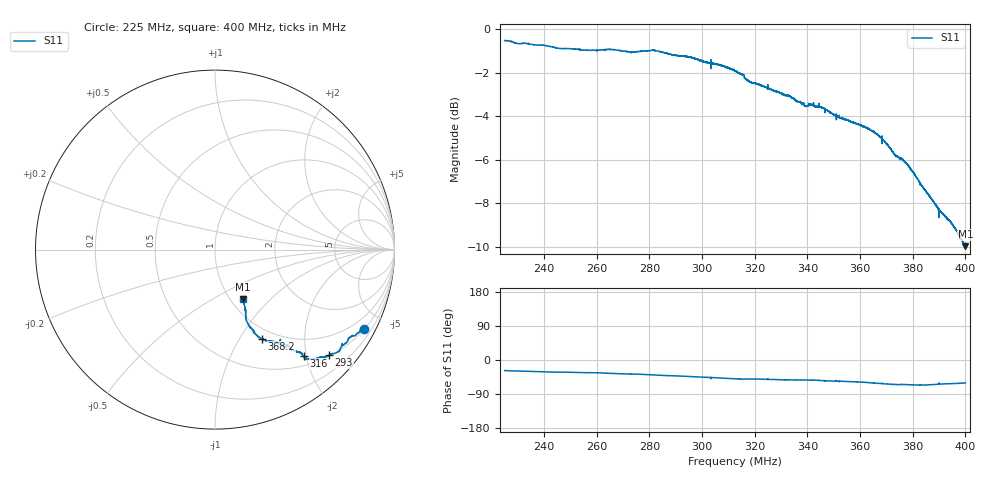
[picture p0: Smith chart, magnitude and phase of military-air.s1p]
! Calibrated averaged scanner-service zoom
# Hz S RI R 50
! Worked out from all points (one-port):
!   10001 points, 225 MHz to 400 MHz, reference 50 ohm
!   lowest |S11| = -10.0 dB at 400 MHz (marker M1), VSWR 1.93, Z = 57.2 - j35.1 ohm
!   |S11| at or under -10 dB: nowhere
!   S11 on the Smith chart (normalised r, x): 225 MHz: 0.51, -3.97; 293 MHz: 0.52, -2.46; 316 MHz: 0.67, -1.96; 368.2 MHz: 0.86, -1.25; 400 MHz: 1.14, -0.70
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2.25e8  0.8319 -0.4401
2.295325e8  0.8102 -0.4514
2.417475e8  0.7778 -0.4792
2.46875e8  0.7649 -0.478
2.604375e8  0.7438 -0.4959
2.6875e8  0.7204 -0.5271
2.753475e8  0.7048 -0.5394
2.810875e8  0.6935 -0.565
2.90625e8  0.6448 -0.5833
2.929875e8  0.6355 -0.5885
3.065675e8  0.5617 -0.6091
3.125e8  0.5202 -0.6105
3.160175e8  0.4951 -0.5929
3.188e8  0.4829 -0.578
3.34375e8  0.421 -0.5525
3.39555e8  0.4021 -0.53
3.420575e8  0.4003 -0.5372
3.457325e8  0.3844 -0.5359
3.49845e8  0.36 -0.5265
3.5625e8  0.3351 -0.5148
3.615175e8  0.3087 -0.5113
3.681675e8  0.2608 -0.4975
3.731375e8  0.2223 -0.4646
3.78125e8  0.2054 -0.442
3.845125e8  0.173 -0.3913
3.903925e8  0.1708 -0.343
3.948025e8  0.1666 -0.3177
4e8  0.1573 -0.2759
